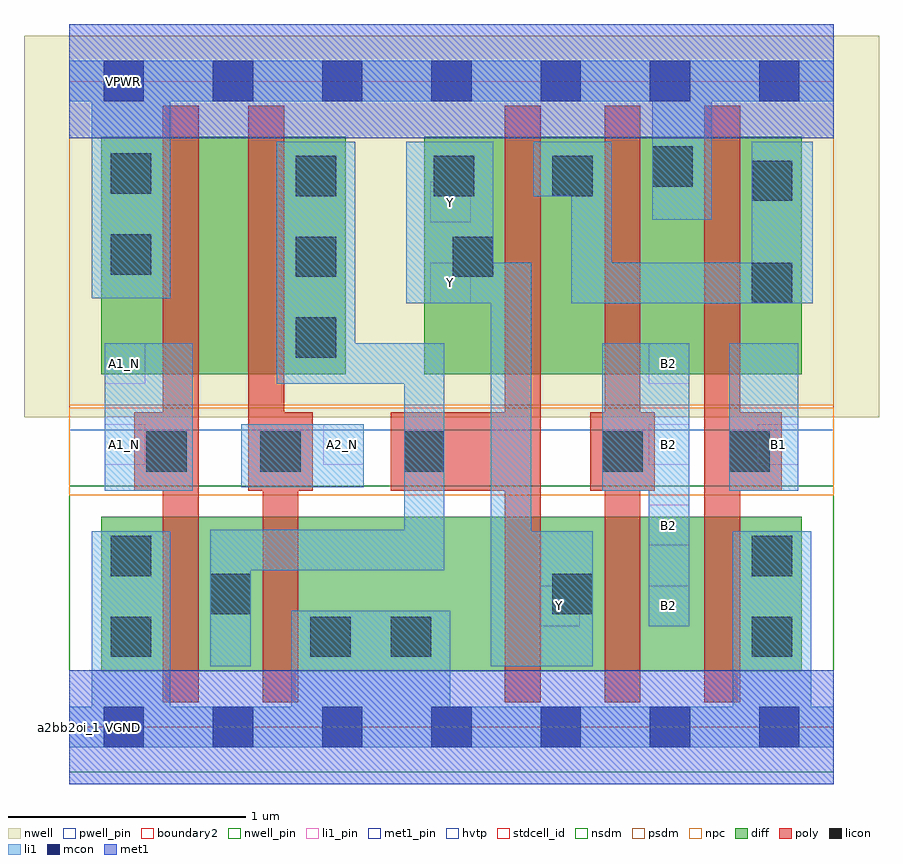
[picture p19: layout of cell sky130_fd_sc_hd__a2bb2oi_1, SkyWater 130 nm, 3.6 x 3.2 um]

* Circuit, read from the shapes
.subckt sky130_fd_sc_hd__a2bb2oi_1 A1_N A2_N B1 B2 VGND VNB VPB VPWR Y
XM1 n1 A1_N VGND VNB sky130_fd_pr__nfet_01v8 w=0.65 l=0.15
XM2 VGND A2_N n1 VNB sky130_fd_pr__nfet_01v8 w=0.65 l=0.15
XM3 Y n1 VGND VNB sky130_fd_pr__nfet_01v8 w=0.65 l=0.15
XM4 n2 B2 Y VNB sky130_fd_pr__nfet_01v8 w=0.65 l=0.15
XM5 VGND B1 n2 VNB sky130_fd_pr__nfet_01v8 w=0.65 l=0.15
XM6 n3 A1_N VPWR VPB sky130_fd_pr__pfet_01v8_hvt w=1 l=0.15
XM7 n1 A2_N n3 VPB sky130_fd_pr__pfet_01v8_hvt w=1 l=0.15
XM8 n4 n1 Y VPB sky130_fd_pr__pfet_01v8_hvt w=1 l=0.15
XM9 VPWR B2 n4 VPB sky130_fd_pr__pfet_01v8_hvt w=1 l=0.15
XM10 n4 B1 VPWR VPB sky130_fd_pr__pfet_01v8_hvt w=1 l=0.15
.ends

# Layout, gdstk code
import gdstk
lib = gdstk.Library(unit=1e-6, precision=1e-09)
def R(c, l, rs):  # rectangles x0, y0, x1, y1
    for r in rs: c.add(gdstk.rectangle(r[:2], r[2:], *l))
def A(c, l, x, y, w, h, nx, ny, dx, dy):  # array of equal rectangles
    R(c, l, [(x+i*dx, y+j*dy, x+i*dx+w, y+j*dy+h) for i in range(nx) for j in range(ny)])
def P(c, l, *ps):  # polygons
    for p in ps: c.add(gdstk.Polygon(p, *l))
nwell_pin = (64, 16)
nwell = (64, 20)
diff = (65, 20)
poly = (66, 20)
licon = (66, 44)
li1_pin = (67, 16)
li1 = (67, 20)
mcon = (67, 44)
met1_pin = (68, 16)
met1 = (68, 20)
hvtp = (78, 44)
stdcell_id = (81, 4)
nsdm = (93, 44)
psdm = (94, 20)
npc = (95, 20)
pwell_pin = (122, 16)
boundary2 = (236, 0)

sky130_fd_sc_hd__a2bb2oi = lib.new_cell('sky130_fd_sc_hd__a2bb2oi_1')
R(sky130_fd_sc_hd__a2bb2oi, nwell_pin, [(0.145,2.635,0.315,2.805)])
R(sky130_fd_sc_hd__a2bb2oi, nwell, [(-0.19,1.305,3.41,2.91)])
R(sky130_fd_sc_hd__a2bb2oi, diff, [(0.135,0.235,3.085,0.885), (0.135,1.485,1.165,2.485), (1.495,1.485,3.085,2.485)])
P(sky130_fd_sc_hd__a2bb2oi, poly, [(0.395,0.105),(0.395,0.995),(0.275,0.995),(0.275,1.325),(0.395,1.325),(0.395,2.615),(0.545,2.615),(0.545,0.105)],
  [(0.815,0.105),(0.815,0.995),(0.755,0.995),(0.755,2.615),(0.905,2.615),(0.905,1.325),(1.025,1.325),(1.025,0.995),(0.965,0.995),(0.965,0.105)],
  [(1.835,0.105),(1.835,0.995),(1.355,0.995),(1.355,1.325),(1.835,1.325),(1.835,2.615),(1.985,2.615),(1.985,0.105)],
  [(2.255,0.105),(2.255,0.995),(2.195,0.995),(2.195,1.325),(2.255,1.325),(2.255,2.615),(2.405,2.615),(2.405,1.325),(2.465,1.325),(2.465,0.995),(2.405,0.995),(2.405,0.105)],
  [(2.675,0.105),(2.675,2.615),(2.825,2.615),(2.825,1.325),(3,1.325),(3,0.995),(2.825,0.995),(2.825,0.105)])
A(sky130_fd_sc_hd__a2bb2oi, licon, 0.955, 1.555, 0.17, 0.17, 1, 3, 0, 0.34)
R(sky130_fd_sc_hd__a2bb2oi, licon, [(0.175,0.295,0.345,0.465), (1.015,0.295,1.185,0.465), (1.355,0.295,1.525,0.465), (2.875,0.295,3.045,0.465), (0.595,0.475,0.765,0.645), (2.035,0.475,2.205,0.645), (0.175,0.635,0.345,0.805), (2.875,0.635,3.045,0.805), (0.325,1.075,0.495,1.245), (0.805,1.075,0.975,1.245), (1.41,1.075,1.58,1.245), (2.245,1.075,2.415,1.245), (2.78,1.075,2.95,1.245), (2.875,1.785,3.045,1.955), (1.615,1.895,1.785,2.065), (0.175,1.905,0.345,2.075), (2.875,2.215,3.045,2.385), (1.535,2.235,1.705,2.405), (2.035,2.235,2.205,2.405), (0.175,2.245,0.345,2.415), (2.455,2.275,2.625,2.445)])
A(sky130_fd_sc_hd__a2bb2oi, li1_pin, 2.44, 0.425, 0.17, 0.17, 1, 4, 0, 0.34)
R(sky130_fd_sc_hd__a2bb2oi, li1_pin, [(0.145,-0.085,0.315,0.085), (1.98,0.425,2.15,0.595), (0.15,1.105,0.32,1.275), (1.07,1.105,1.24,1.275), (2.9,1.105,3.07,1.275), (0.15,1.445,0.32,1.615), (1.52,1.785,1.69,1.955), (1.52,2.125,1.69,2.295), (0.145,2.635,0.315,2.805)])
R(sky130_fd_sc_hd__a2bb2oi, li1, [(0.15,0.995,0.52,1.615), (2.78,0.995,3.07,1.615), (0.725,1.01,1.24,1.275)])
P(sky130_fd_sc_hd__a2bb2oi, li1, [(0,-0.085),(0,0.085),(0.095,0.085),(0.095,0.825),(0.425,0.825),(0.425,0.085),(0.935,0.085),(0.935,0.49),(1.605,0.49),(1.605,0.085),(2.795,0.085),(2.795,0.825),(3.125,0.825),(3.125,0.085),(3.22,0.085),(3.22,-0.085)],
  [(0.095,1.805),(0.095,2.635),(0,2.635),(0,2.805),(3.22,2.805),(3.22,2.635),(2.705,2.635),(2.705,2.135),(2.455,2.135),(2.455,2.635),(0.425,2.635),(0.425,1.805)],
  [(0.595,0.255),(0.595,0.83),(1.41,0.83),(1.41,1.445),(0.875,1.445),(0.875,2.465),(1.205,2.465),(1.205,1.615),(1.58,1.615),(1.58,0.66),(0.765,0.66),(0.765,0.255)],
  [(2.44,0.425),(2.44,0.995),(2.245,0.995),(2.245,1.615),(2.61,1.615),(2.61,0.425)],
  [(1.775,0.255),(1.775,1.785),(1.42,1.785),(1.42,2.465),(1.785,2.465),(1.785,1.955),(1.945,1.955),(1.945,0.825),(2.205,0.825),(2.205,0.255)],
  [(2.115,1.785),(2.115,2.235),(1.955,2.235),(1.955,2.465),(2.285,2.465),(2.285,1.955),(2.875,1.955),(2.875,2.465),(3.13,2.465),(3.13,1.785)])
A(sky130_fd_sc_hd__a2bb2oi, mcon, 0.145, -0.085, 0.17, 0.17, 7, 2, 0.46, 2.72)
R(sky130_fd_sc_hd__a2bb2oi, met1_pin, [(0.145,-0.085,0.315,0.085), (0.145,2.635,0.315,2.805)])
R(sky130_fd_sc_hd__a2bb2oi, hvtp, [(0,1.25,3.22,2.72)])
R(sky130_fd_sc_hd__a2bb2oi, stdcell_id, [(0,0,3.22,2.72)])
R(sky130_fd_sc_hd__a2bb2oi, nsdm, [(0,-0.19,3.22,1.015)])
R(sky130_fd_sc_hd__a2bb2oi, psdm, [(0,1.355,3.22,2.91)])
R(sky130_fd_sc_hd__a2bb2oi, npc, [(0,0.975,3.22,1.345)])
R(sky130_fd_sc_hd__a2bb2oi, pwell_pin, [(0.145,-0.085,0.315,0.085)])
R(sky130_fd_sc_hd__a2bb2oi, boundary2, [(0,0,3.22,2.72)])
sky130_fd_sc_hd__a2bb2oi.add(gdstk.FlexPath([(0,2.72),(3.22,2.72)], 0.48, ends="flush", simple_path=True, layer=68, datatype=20))  # met1
sky130_fd_sc_hd__a2bb2oi.add(gdstk.FlexPath([(0,0),(3.22,0)], 0.48, ends="flush", simple_path=True, layer=68, datatype=20))  # met1
sky130_fd_sc_hd__a2bb2oi.add(gdstk.Label('A1_N', (0.235,1.53), layer=67, texttype=5))
sky130_fd_sc_hd__a2bb2oi.add(gdstk.Label('A1_N', (0.235,1.19), layer=67, texttype=5))
sky130_fd_sc_hd__a2bb2oi.add(gdstk.Label('Y', (1.605,2.21), layer=67, texttype=5))
sky130_fd_sc_hd__a2bb2oi.add(gdstk.Label('Y', (1.605,1.87), layer=67, texttype=5))
sky130_fd_sc_hd__a2bb2oi.add(gdstk.Label('Y', (2.065,0.51), layer=67, texttype=5))
sky130_fd_sc_hd__a2bb2oi.add(gdstk.Label('VGND', (0.23,0), layer=67, texttype=5))
sky130_fd_sc_hd__a2bb2oi.add(gdstk.Label('VPWR', (0.23,2.72), layer=67, texttype=5))
sky130_fd_sc_hd__a2bb2oi.add(gdstk.Label('B2', (2.525,0.51), layer=67, texttype=5))
sky130_fd_sc_hd__a2bb2oi.add(gdstk.Label('B2', (2.525,0.85), layer=67, texttype=5))
sky130_fd_sc_hd__a2bb2oi.add(gdstk.Label('B2', (2.525,1.19), layer=67, texttype=5))
sky130_fd_sc_hd__a2bb2oi.add(gdstk.Label('B2', (2.525,1.53), layer=67, texttype=5))
sky130_fd_sc_hd__a2bb2oi.add(gdstk.Label('B1', (2.985,1.19), layer=67, texttype=5))
sky130_fd_sc_hd__a2bb2oi.add(gdstk.Label('A2_N', (1.15,1.19), layer=67, texttype=5))
sky130_fd_sc_hd__a2bb2oi.add(gdstk.Label('VNB', (0.23,0), layer=64, texttype=59))
sky130_fd_sc_hd__a2bb2oi.add(gdstk.Label('VPB', (0.23,2.72), layer=64, texttype=5))
sky130_fd_sc_hd__a2bb2oi.add(gdstk.Label('VGND', (0.23,0), layer=68, texttype=5))
sky130_fd_sc_hd__a2bb2oi.add(gdstk.Label('VPWR', (0.23,2.72), layer=68, texttype=5))
sky130_fd_sc_hd__a2bb2oi.add(gdstk.Label('a2bb2oi_1', (0,0), layer=83, texttype=44))

lib.write_gds('sky130_fd_sc_hd__a2bb2oi_1.gds')
